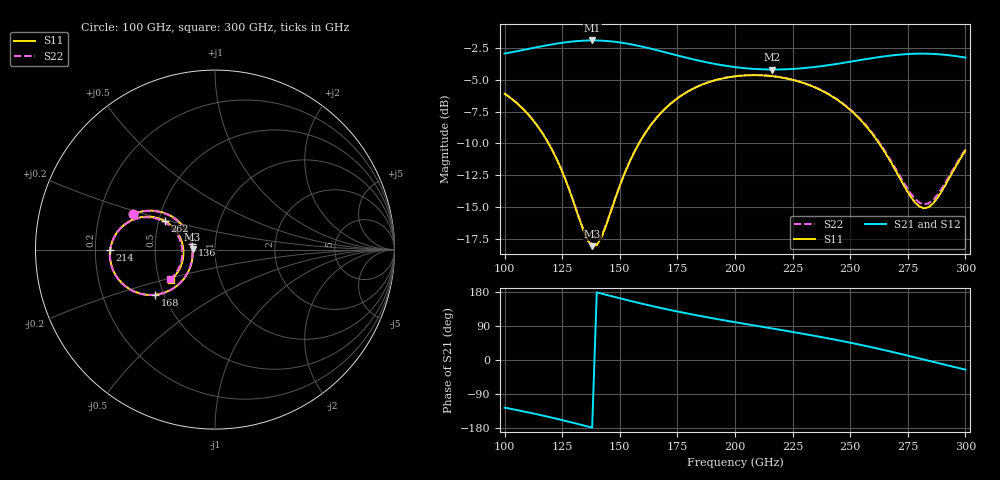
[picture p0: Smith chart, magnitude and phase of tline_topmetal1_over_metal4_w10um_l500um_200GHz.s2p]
#  GHZ S DB R 50
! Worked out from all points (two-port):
!   101 points, 100 GHz to 300 GHz, reference 50 ohm
!   highest |S21| = -1.91 dB at 138 GHz (marker M1); lowest = -4.2 dB at 216 GHz (marker M2)
!   |S21| within 3 dB of the highest: start of sweep to end of sweep
!   lowest |S11| = -18.1 dB at 138 GHz (marker M3), VSWR 1.29, Z = 38.9 + j0.234 ohm
!   |S11| at or under -10 dB: 119.1 GHz to 158.3 GHz (39.27 GHz wide, 28.3 % of centre); 262.5 GHz to end of sweep
!   |S22| runs from -18.0 to -4.6 dB; largest |S21 - S12| = 0
!   S11 on the Smith chart (normalised r, x): 100 GHz: 0.35, +0.18; 136 GHz: 0.77, +0.04; 168 GHz: 0.45, -0.27; 214 GHz: 0.26, -0.00; 262 GHz: 0.54, +0.19; 300 GHz: 0.58, -0.21
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100  -6.09 156.4  -2.94 -125.8  -2.94 -125.8  -6.08 156.7
118  -9.66 143.3  -2.31 -148.6  -2.31 -148.6  -9.64 143.7
126  -12.66 142.9  -2.07 -160.1  -2.07 -160.1  -12.62 143.4
134  -16.75 158.4  -1.93 -172.3  -1.93 -172.3  -16.66 158.9
136  -17.61 167.5  -1.92 -175.4  -1.92 -175.4  -17.50 167.9
138  -18.07 178.6  -1.91 -178.5  -1.91 -178.5  -17.95 178.9
142  -17.40 -158.8  -1.93 175.3  -1.93 175.3  -17.30 -159.0
150  -13.33 -138.0  -2.07 162.9  -2.07 162.9  -13.29 -138.2
158  -10.10 -136.9  -2.33 150.9  -2.33 150.9  -10.08 -137.0
168  -7.58 -143.0  -2.76 137.0  -2.76 137.0  -7.57 -143.0
182  -5.69 -154.5  -3.40 119.6  -3.40 119.6  -5.67 -154.4
200  -4.73 -169.2  -4.00 99.8  -4.00 99.8  -4.72 -169.0
214  -4.68 -180.0  -4.19 85.4  -4.19 85.4  -4.67 -179.6
216  -4.72 178.5  -4.19 83.3  -4.19 83.3  -4.70 178.9
234  -5.55 165.3  -4.01 64.3  -4.01 64.3  -5.52 165.7
248  -7.06 155.8  -3.64 48.1  -3.64 48.1  -7.02 156.5
262  -9.85 150.4  -3.23 30.0  -3.23 30.0  -9.76 151.3
268  -11.59 152.1  -3.09 21.6  -3.09 21.6  -11.45 153.1
276  -14.11 163.7  -2.97 10.0  -2.97 10.0  -13.87 164.5
282  -15.09 -178.3  -2.95 1.1  -2.95 1.1  -14.79 -178.3
288  -14.25 -159.8  -2.99 -7.8  -2.99 -7.8  -14.01 -160.6
300  -10.56 -145.6  -3.26 -25.3  -3.26 -25.3  -10.46 -146.5
